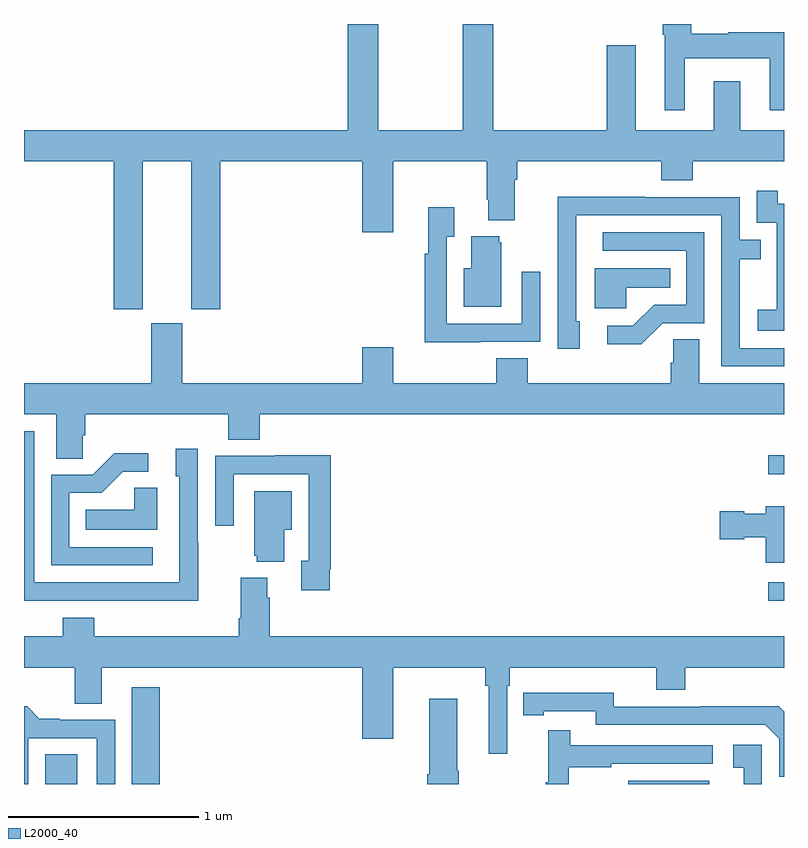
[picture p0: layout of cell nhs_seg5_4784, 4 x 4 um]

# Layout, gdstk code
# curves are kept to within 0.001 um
import gdstk
lib = gdstk.Library(unit=1e-6, precision=1e-09)
def R(c, l, rs):  # rectangles x0, y0, x1, y1
    for r in rs: c.add(gdstk.rectangle(r[:2], r[2:], *l))
def P(c, l, *ps):  # polygons
    for p in ps: c.add(gdstk.Polygon(p, *l))
L2000_40 = (2000, 40)

nhs_seg5_4784 = lib.new_cell('nhs_seg5_4784')
R(nhs_seg5_4784, L2000_40, [(391.112,870.799,391.279,870.956), (391.568,870.799,391.715,871.309), (394.179,870.799,394.606,870.817), (394.917,871.763,395,871.86), (394.917,872.429,395,872.528)])
P(nhs_seg5_4784, L2000_40, [(394.477,874.619),(394.925,874.619),(394.925,874.344),(395,874.344),(395,874.756),(394.707,874.756),(394.707,874.747),(394.513,874.747),(394.513,874.799),(394.361,874.799),(394.361,874.743),(394.373,874.743),(394.373,874.344),(394.477,874.344)],
  [(391.624,874.076),(391.88,874.076),(391.88,873.297),(392.033,873.297),(392.033,874.076),(392.78,874.076),(392.78,873.702),(392.944,873.702),(392.944,874.076),(393.436,874.076),(393.436,873.874),(393.443,873.874),(393.443,873.767),(393.583,873.767),(393.583,873.98),(393.596,873.98),(393.596,874.076),(394.355,874.076),(394.355,873.977),(394.52,873.977),(394.52,874.076),(395,874.076),(395,874.24),(394.771,874.24),(394.771,874.498),(394.631,874.498),(394.631,874.24),(394.219,874.24),(394.219,874.687),(394.067,874.687),(394.067,874.24),(393.47,874.24),(393.47,874.799),(393.31,874.799),(393.31,874.24),(392.865,874.24),(392.865,874.799),(392.705,874.799),(392.705,874.24),(391,874.24),(391,874.076),(391.472,874.076),(391.472,873.297),(391.624,873.297)],
  [(395,873.852),(394.966,873.852),(394.966,873.922),(394.857,873.922),(394.857,873.753),(394.962,873.753),(394.962,873.524),(394.961,873.524),(394.961,873.295),(394.863,873.295),(394.863,873.185),(395,873.185)],
  [(395,873.093),(394.767,873.093),(394.767,873.562),(394.877,873.562),(394.877,873.663),(394.767,873.663),(394.767,873.888),(394.271,873.888),(394.271,873.89),(393.808,873.89),(393.808,873.583),(393.81,873.583),(393.81,873.09),(393.925,873.09),(393.925,873.234),(393.906,873.234),(393.906,873.565),(393.907,873.565),(393.907,873.792),(394.671,873.792),(394.671,872.997),(395,872.997)],
  [(393.401,873.126),(393.717,873.126),(393.717,873.496),(393.621,873.496),(393.621,873.222),(393.225,873.222),(393.225,873.679),(393.265,873.679),(393.265,873.835),(393.128,873.835),(393.128,873.59),(393.109,873.59),(393.109,873.125),(393.401,873.125)],
  [(394.362,873.225),(394.581,873.225),(394.581,873.702),(394.047,873.702),(394.047,873.606),(394.485,873.606),(394.485,873.321),(394.316,873.321),(394.205,873.21),(394.071,873.21),(394.071,873.113),(394.249,873.113)],
  [(393.511,873.651),(393.5,873.651),(393.5,873.682),(393.353,873.682),(393.353,873.514),(393.314,873.514),(393.314,873.311),(393.511,873.311)],
  [(394.17,873.41),(394.4,873.41),(394.4,873.514),(394.004,873.514),(394.004,873.302),(394.17,873.302)],
  [(391.308,872.635),(391.322,872.635),(391.322,872.744),(392.075,872.744),(392.075,872.611),(392.24,872.611),(392.24,872.744),(395,872.744),(395,872.908),(394.555,872.908),(394.555,873.14),(394.416,873.14),(394.416,873.017),(394.403,873.017),(394.403,872.908),(393.65,872.908),(393.65,873.041),(393.485,873.041),(393.485,872.908),(392.944,872.908),(392.944,873.097),(392.78,873.097),(392.78,872.908),(391.834,872.908),(391.834,873.225),(391.67,873.225),(391.67,872.908),(391,872.908),(391,872.744),(391.169,872.744),(391.169,872.512),(391.308,872.512)],
  [(391.917,872.069),(391.914,872.069),(391.914,872.563),(391.799,872.563),(391.799,872.418),(391.818,872.418),(391.818,871.86),(391.053,871.86),(391.053,872.655),(391,872.655),(391,871.764),(391.453,871.764),(391.453,871.763),(391.917,871.763)],
  [(391.678,872.046),(391.239,872.046),(391.239,872.331),(391.408,872.331),(391.519,872.442),(391.654,872.442),(391.654,872.54),(391.475,872.54),(391.362,872.427),(391.143,872.427),(391.143,871.95),(391.678,871.95)],
  [(392.608,871.93),(392.615,871.93),(392.615,872.528),(392.323,872.528),(392.323,872.526),(392.007,872.526),(392.007,872.157),(392.103,872.157),(392.103,872.43),(392.499,872.43),(392.499,871.974),(392.459,871.974),(392.459,871.818),(392.608,871.818)],
  [(391.702,872.357),(391.581,872.357),(391.581,872.242),(391.324,872.242),(391.324,872.138),(391.702,872.138)],
  [(392.371,872.138),(392.41,872.138),(392.41,872.341),(392.213,872.341),(392.213,872.001),(392.225,872.001),(392.225,871.97),(392.371,871.97)],
  [(395,872.26),(394.904,872.26),(394.904,872.221),(394.791,872.221),(394.791,872.234),(394.662,872.234),(394.662,872.087),(394.791,872.087),(394.791,872.099),(394.904,872.099),(394.904,871.964),(395,871.964)],
  [(391.268,871.222),(391.408,871.222),(391.408,871.412),(392.78,871.412),(392.78,871.038),(392.944,871.038),(392.944,871.412),(393.427,871.412),(393.427,871.316),(393.446,871.316),(393.446,870.957),(393.543,870.957),(393.543,871.316),(393.557,871.316),(393.557,871.412),(394.328,871.412),(394.328,871.295),(394.481,871.295),(394.481,871.412),(395,871.412),(395,871.576),(392.294,871.576),(392.294,871.778),(392.281,871.778),(392.281,871.885),(392.141,871.885),(392.141,871.672),(392.129,871.672),(392.129,871.576),(391.37,871.576),(391.37,871.675),(391.205,871.675),(391.205,871.576),(391,871.576),(391,871.412),(391.268,871.412)],
  [(395,871.18),(394.972,871.208),(394.564,871.208),(394.564,871.206),(394.104,871.206),(394.104,871.279),(393.628,871.278),(393.628,871.162),(393.736,871.162),(393.736,871.182),(394.008,871.182),(394.008,871.11),(394.902,871.11),(394.974,871.038),(394.974,870.837),(395,870.837)],
  [(393.288,870.869),(393.28,870.869),(393.28,871.249),(393.134,871.249),(393.134,870.851),(393.122,870.851),(393.122,870.799),(393.288,870.799)],
  [(391.023,871.041),(391.383,871.041),(391.383,870.799),(391.479,870.799),(391.479,871.137),(391.189,871.137),(391.189,871.142),(391.081,871.142),(391.016,871.208),(391,871.208),(391,870.799),(391.023,870.799)],
  [(393.868,870.886),(394.091,870.886),(394.091,870.906),(394.624,870.906),(394.624,871.002),(393.875,871.002),(393.875,871.081),(393.758,871.081),(393.758,870.809),(393.747,870.809),(393.747,870.799),(393.868,870.799)],
  [(394.884,871.006),(394.734,871.006),(394.734,870.885),(394.787,870.885),(394.787,870.799),(394.884,870.799)])

lib.write_gds('nhs_seg5_4784.gds')
